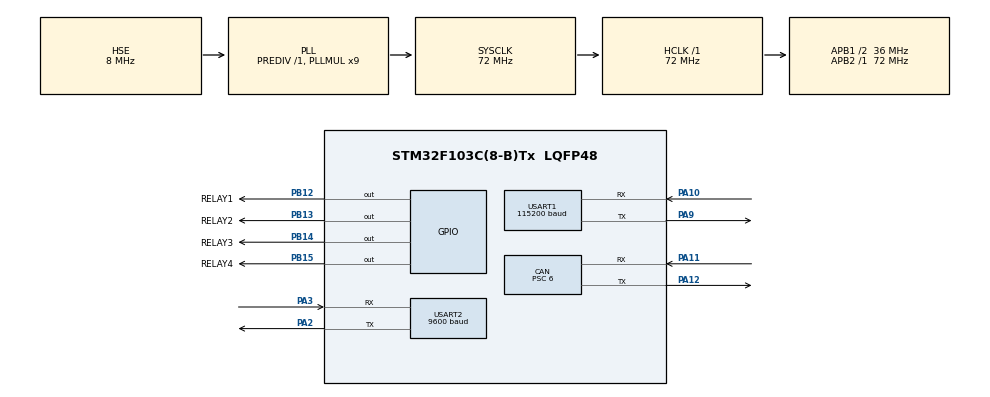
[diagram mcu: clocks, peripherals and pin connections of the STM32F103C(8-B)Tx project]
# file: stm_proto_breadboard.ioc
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Mcu.Family=STM32F1
RCC.PLLSourceVirtual=RCC_PLLSOURCE_HSE
NVIC.CAN1_RX1_IRQn=true\:0\:0\:false\:true\:true\:4\:true\:true
TIM4.AutoReloadPreload=TIM_AUTORELOAD_PRELOAD_ENABLE
PD1-OSC_OUT.Mode=HSE-External-Oscillator
PA10.Mode=Asynchronous
CAN.ABOM=ENABLE
PA10.GPIO_PuPd=GPIO_PULLUP
USART1.BaudRate=115200
CAN.CalculateBaudRate=500000
PB14.GPIO_Label=RELAY3
PA11.Mode=CAN_Activate
CAN.SJW=CAN_SJW_2TQ
PD0-OSC_IN.Signal=RCC_OSC_IN
RCC.APB1CLKDivider=RCC_HCLK_DIV2
PB13.GPIO_Label=RELAY2
PB13.Signal=GPIO_Output
PB15.Signal=GPIO_Output
NVIC.USART2_IRQn=true\:0\:0\:false\:true\:true\:3\:true\:true
USART2.BaudRate=9600
CAN.CalculateTimeBit=1999.99
TIM4.TIM_MasterOutputTrigger=TIM_TRGO_RESET
RCC.SYSCLKSource=RCC_SYSCLKSOURCE_PLLCLK
ProjectManager.StackSize=0x400
PD1-OSC_OUT.Signal=RCC_OSC_OUT
PA13.Signal=SYS_JTMS-SWDIO
PA3.Mode=Asynchronous
PA9.Mode=Asynchronous
PA12.Signal=CAN_TX
CAN.BS2=CAN_BS2_3TQ
CAN.Prescaler=6
CAN.BS1=CAN_BS1_8TQ
ProjectManager.TargetToolchain=STM32CubeIDE
RCC.HCLKFreq_Value=72000000
RCC.APB2TimFreq_Value=72000000
PA9.Signal=USART1_TX
RCC.USBFreq_Value=72000000
TIM4.Prescaler=7200
RCC.AHBFreq_Value=72000000
PD0-OSC_IN.Mode=HSE-External-Oscillator
PB14.Signal=GPIO_Output
board=custom
RCC.PLLMUL=RCC_PLL_MUL9
PB12.GPIO_Label=RELAY1
RCC.APB2Freq_Value=72000000
PB13.PinState=GPIO_PIN_RESET
USART1.Mode=MODE_TX_RX
PB15.GPIO_Label=RELAY4
PA14.Mode=Serial_Wire
NVIC.USB_LP_CAN1_RX0_IRQn=true\:0\:0\:false\:true\:true\:5\:true\:true
CAN.NART=ENABLE
TIM4.Period=50
PA13.Mode=Serial_Wire
Mcu.Name=STM32F103C(8-B)Tx
CAN.CalculateTimeQuantum=166.66666666666669
PA2.Signal=USART2_TX
RCC.SYSCLKFreq_VALUE=72000000
Mcu.Package=LQFP48
PA12.Mode=CAN_Activate
USART2.VirtualMode=VM_ASYNC
USART1.VirtualMode=VM_ASYNC
PA11.Signal=CAN_RX
PA14.Signal=SYS_JTCK-SWCLK
PA10.Signal=USART1_RX
ProjectManager.HeapSize=0x200
VP_TIM4_VS_ClockSourceINT.Mode=Internal
NVIC.PriorityGroup=NVIC_PRIORITYGROUP_4
RCC.APB1TimFreq_Value=72000000
PA2.Mode=Asynchronous
CAN.AWUM=ENABLE
NVIC.USART1_IRQn=true\:0\:0\:false\:true\:true\:2\:true\:true
NVIC.TIM4_IRQn=true\:1\:0\:true\:true\:true\:1\:true\:true
RCC.APB1Freq_Value=36000000
PB12.Signal=GPIO_Output
NVIC.RCC_IRQn=true\:0\:0\:false\:false\:true\:true\:false
PA3.Signal=USART2_RX

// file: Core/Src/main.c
/* USER CODE BEGIN Header */
/**
  ******************************************************************************
  * @file           : main.c
  * @brief          : Main program body
  ******************************************************************************
  * @attention
  *
  * <h2><center>&copy; Copyright (c) 2021 STMicroelectronics.
  * All rights reserved.</center></h2>
  *
  * This software component is licensed by ST under BSD 3-Clause license,
  * the "License"; You may not use this file except in compliance with the
  * License. You may obtain a copy of the License at:
  *                        opensource.org/licenses/BSD-3-Clause
  *
  ******************************************************************************
  */
/* USER CODE END Header */
#include "main.h"

/* USER CODE BEGIN Includes */
#include "Task.h"
/* USER CODE END Includes */

CAN_HandleTypeDef hcan;

TIM_HandleTypeDef htim4;

UART_HandleTypeDef huart1;
UART_HandleTypeDef huart2;

/* USER CODE BEGIN PV */
CAN_TxHeaderTypeDef CanTxHeader;
CAN_RxHeaderTypeDef CanRxHeader;
/* USER CODE END PV */

void SystemClock_Config(void);
static void MX_GPIO_Init(void);
static void MX_CAN_Init(void);
static void MX_USART1_UART_Init(void);
static void MX_TIM4_Init(void);
static void MX_USART2_UART_Init(void);
static void MX_NVIC_Init(void);
/* USER CODE BEGIN PFP */
void CAN_Config(void);
/* USER CODE END PFP */

/* USER CODE BEGIN 0 */
void delay (int a)
{
  volatile int i,j;
  for (i=0 ; i < a ; i++)
  {
     j++;
  }
  return;
}

void HAL_TIM_PeriodElapsedCallback(TIM_HandleTypeDef *htim)
{
	if(htim->Instance == TIM4)
	{
	    Task_Manager_IT();
	}
}

uint8_t UART1_rxBuffer[40] = {0};
uint8_t UART1_pos=0;
void HAL_UART_RxCpltCallback(UART_HandleTypeDef *huart)
{
	unsigned char echo = 1;

	if(huart->Instance == USART1)
	{

        if( (UART1_rxBuffer[UART1_pos] == '\n') || (UART1_rxBuffer[UART1_pos] == '\r') || (UART1_pos >= 40) )
        {
    	    HAL_UART_Transmit(&huart1, (uint8_t*)"received: ", 10, 100);
            HAL_UART_Transmit(&huart1, UART1_rxBuffer, UART1_pos, 100);
    	    HAL_UART_Transmit(&huart1, (uint8_t*)"\n", 1, 100);

            Uart2can_RxIndication(UART1_rxBuffer);
    	    UART1_pos = 0;
        }
        else if( UART1_rxBuffer[UART1_pos] == '\177' )
		{
        	if(UART1_pos > 0)
              UART1_pos--;
		}
        else
        {
        	UART1_pos++;

        }

        if( echo == 1 )
        {
            HAL_UART_Transmit(&huart1, UART1_rxBuffer[UART1_pos], 1, 100);
        }

        /* Reenable uart1 interrupt */
        HAL_UART_Receive_IT(&huart1, &UART1_rxBuffer[UART1_pos], 1);
	}
}

void HAL_CAN_RxFifo0FullCallback(CAN_HandleTypeDef *hcan)
{
	CAN_RxHeaderTypeDef CanHeader;
    uint8_t CanRxData[8];

    HAL_CAN_GetRxMessage(hcan, CAN_RX_FIFO0, &CanHeader, CanRxData);
}

void HAL_CAN_RxFifo1FullCallback(CAN_HandleTypeDef *hcan)
{
	CAN_RxHeaderTypeDef CanHeader;
    uint8_t CanRxData[8];

    HAL_CAN_GetRxMessage(hcan, CAN_RX_FIFO0, &CanHeader, CanRxData);
}

void HAL_CAN_RxFifo1MsgPendingCallback(CAN_HandleTypeDef *hcan)
{
  CAN_RxHeaderTypeDef CanHeader;
  uint8_t CanRxData[8];

}

void HAL_CAN_RxFifo0MsgPendingCallback(CAN_HandleTypeDef *hcan)
{
  CAN_RxHeaderTypeDef CanHeader;
  uint8_t CanRxData[8];

  HAL_CAN_GetRxMessage(hcan, CAN_RX_FIFO0, &CanHeader, CanRxData);

  if (CanHeader.IDE == CAN_ID_STD )
  {
      // Traitement des donnéess

	  OrderProcess(CanHeader.StdId, CanRxData, CanHeader.DLC);

  }

  /* Receive */
//    if (HAL_CAN_Receive_IT(hcan, CAN_RX_FIFO0) != HAL_OK)
//    {
//      /* Reception Error */
//      Error_Handler();
//    }

//    HAL_CAN_Start(hcan);

//    HAL_CAN_RxFifo0FullCallback(hcan)
//    HAL_CAN_GetRxFifoFillLevel(hcan, RxFifo)
}

void Receive_CAN_Message_Polling(CAN_RxHeaderTypeDef RxMessage_, uint8_t* RxData_)
{
    uint8_t messages = HAL_CAN_GetRxFifoFillLevel(&hcan, CAN_RX_FIFO0);
    if(messages > 0)
    {
    	int i=0;
        if(HAL_CAN_GetRxMessage(&hcan, CAN_RX_FIFO0, &RxMessage_, RxData_) == HAL_OK)
        {
            i++;
        	//Indicate();
        }
    }

    messages = HAL_CAN_GetRxFifoFillLevel(&hcan, CAN_RX_FIFO1);
	if(messages > 0)
	{
		int i=0;
		if(HAL_CAN_GetRxMessage(&hcan, CAN_RX_FIFO0, &RxMessage_, RxData_) == HAL_OK)
		{
			i++;
			//Indicate();
		}
	}
}
uint8_t cpt = 0;
/* USER CODE END 0 */

int main(void)
{
  /* USER CODE BEGIN 1 */
  unsigned char str_buff[15] ={0};

  CAN_TxHeaderTypeDef canHeader;
  unsigned char canBuff[8]={1, 2, 3, 4, 5, 6, 7, 8};
  unsigned char canMailBox;
  unsigned char * pTxMailbox=&canMailBox;
  /* USER CODE END 1 */

  /* MCU Configuration--------------------------------------------------------*/

  /* Reset of all peripherals, Initializes the Flash interface and the Systick. */
  HAL_Init();

  /* Configure the system clock */
  SystemClock_Config();

  /* Initialize all configured peripherals */
  MX_GPIO_Init();
  MX_CAN_Init();
  MX_USART1_UART_Init();
  MX_TIM4_Init();
  MX_USART2_UART_Init();

  /* Initialize interrupts */
  MX_NVIC_Init();
  /* USER CODE BEGIN 2 */

  /* Configure the CAN Filter */
  {
    CAN_FilterTypeDef  sFilterConfig;
    sFilterConfig.FilterBank = 0;
    sFilterConfig.FilterMode = CAN_FILTERMODE_IDMASK;
    sFilterConfig.FilterScale = CAN_FILTERSCALE_32BIT;
    sFilterConfig.FilterIdHigh = 0x0000;
    sFilterConfig.FilterIdLow = 0x0000;
    sFilterConfig.FilterMaskIdHigh = 0x0000;
    sFilterConfig.FilterMaskIdLow = 0x0000;
    sFilterConfig.FilterFIFOAssignment = CAN_RX_FIFO0;
    sFilterConfig.FilterActivation = ENABLE;
    sFilterConfig.SlaveStartFilterBank = 14;

    if (HAL_CAN_ConfigFilter(&hcan, &sFilterConfig) != HAL_OK)
    {
      /* Filter configuration Error */
      Error_Handler();
    }

    /* Start the CAN peripheral */
//    if (HAL_CAN_Start(&hcan) != HAL_OK)
//    {
//      /* Start Error */
//      Error_Handler();
//    }

    /* Activate CAN RX notification */
    if (HAL_CAN_ActivateNotification(&hcan, CAN_IT_RX_FIFO0_MSG_PENDING) != HAL_OK)
    {
      /* Notification Error */
      Error_Handler();
    }

    /* Configure Transmission process */
    canHeader.StdId = 0x321;
    canHeader.ExtId = 0x01;
    canHeader.RTR = CAN_RTR_DATA;
    canHeader.IDE = CAN_ID_STD;
    canHeader.DLC = 2;
    canHeader.TransmitGlobalTime = DISABLE;

  }
  HAL_TIM_Base_Start_IT(&htim4);

//  HAL_CAN_Start(&hcan); //start CAN
//  HAL_CAN_ActivateNotification(&hcan, CAN_IT_RX_FIFO0_MSG_PENDING); //enable interrupts
  //CAN_Config();

  hcan.Instance->MCR = 0x60; //IMPORTANT FOR DEBUG!!!!!!!

  /* Receive */
// if (HAL_CAN_Receive_IT(&hcan, CAN_RX_FIFO0) != HAL_OK)
// {
//   /* Reception Error */
//   Error_Handler();
// }

  TaskManager_Init();

  Light_Init();

  HAL_UART_Receive_IT (&huart1, UART1_rxBuffer, 1);
  HAL_UART_Transmit(&huart1, (uint8_t *)"welcome\r\n", 9, 100);

  //HAL_CAN_WakeUp(&hcan);

  canHeader.StdId = 0x012;
  canHeader.ExtId = 0x21;
  canHeader.IDE = CAN_ID_STD;
  canHeader.RTR = 0; //CAN_RTR_DATA;
  canHeader.DLC=1;
  canHeader.TransmitGlobalTime = DISABLE;

  HAL_CAN_AddTxMessage(&hcan, &canHeader, canBuff, pTxMailbox);

  /* USER CODE END 2 */

  /* Infinite loop */
  while (1)
  {

    /* USER CODE BEGIN 3 */
    TaskManager();

    {
        uint32_t TxMailbox;
        uint8_t TxData[8];
        CAN_TxHeaderTypeDef TxMessage;

        TxData[0] = 0xAB;
        TxData[1] = 0xCD;

        TxMessage.DLC = 2;
		TxMessage.IDE = CAN_ID_STD;
		TxMessage.RTR = 0;
		TxMessage.StdId = 0x234;
		TxMessage.TransmitGlobalTime = DISABLE;

     //   HAL_CAN_AddTxMessage(&hcan, &TxMessage, TxData, &TxMailbox);
    }
    //HAL_Delay(1000);
  }
  /* USER CODE END 3 */
}

void SystemClock_Config(void)
{
  RCC_OscInitTypeDef RCC_OscInitStruct = {0};
  RCC_ClkInitTypeDef RCC_ClkInitStruct = {0};

  /** Initializes the RCC Oscillators according to the specified parameters
  * in the RCC_OscInitTypeDef structure.
  */
  RCC_OscInitStruct.OscillatorType = RCC_OSCILLATORTYPE_HSE;
  RCC_OscInitStruct.HSEState = RCC_HSE_ON;
  RCC_OscInitStruct.HSEPredivValue = RCC_HSE_PREDIV_DIV1;
  RCC_OscInitStruct.HSIState = RCC_HSI_ON;
  RCC_OscInitStruct.PLL.PLLState = RCC_PLL_ON;
  RCC_OscInitStruct.PLL.PLLSource = RCC_PLLSOURCE_HSE;
  RCC_OscInitStruct.PLL.PLLMUL = RCC_PLL_MUL9;
  if (HAL_RCC_OscConfig(&RCC_OscInitStruct) != HAL_OK)
  {
    Error_Handler();
  }
  /** Initializes the CPU, AHB and APB buses clocks
  */
  RCC_ClkInitStruct.ClockType = RCC_CLOCKTYPE_HCLK|RCC_CLOCKTYPE_SYSCLK
                              |RCC_CLOCKTYPE_PCLK1|RCC_CLOCKTYPE_PCLK2;
  RCC_ClkInitStruct.SYSCLKSource = RCC_SYSCLKSOURCE_PLLCLK;
  RCC_ClkInitStruct.AHBCLKDivider = RCC_SYSCLK_DIV1;
  RCC_ClkInitStruct.APB1CLKDivider = RCC_HCLK_DIV2;
  RCC_ClkInitStruct.APB2CLKDivider = RCC_HCLK_DIV1;

  if (HAL_RCC_ClockConfig(&RCC_ClkInitStruct, FLASH_LATENCY_2) != HAL_OK)
  {
    Error_Handler();
  }
}

/**
  * @brief NVIC Configuration.
  * @retval None
  */
static void MX_NVIC_Init(void)
{
  /* TIM4_IRQn interrupt configuration */
  HAL_NVIC_SetPriority(TIM4_IRQn, 1, 0);
  HAL_NVIC_EnableIRQ(TIM4_IRQn);
  /* USART1_IRQn interrupt configuration */
  HAL_NVIC_SetPriority(USART1_IRQn, 0, 0);
  HAL_NVIC_EnableIRQ(USART1_IRQn);
  /* USART2_IRQn interrupt configuration */
  HAL_NVIC_SetPriority(USART2_IRQn, 0, 0);
  HAL_NVIC_EnableIRQ(USART2_IRQn);
  /* CAN1_RX1_IRQn interrupt configuration */
  HAL_NVIC_SetPriority(CAN1_RX1_IRQn, 0, 0);
  HAL_NVIC_EnableIRQ(CAN1_RX1_IRQn);
  /* USB_LP_CAN1_RX0_IRQn interrupt configuration */
  HAL_NVIC_SetPriority(USB_LP_CAN1_RX0_IRQn, 0, 0);
  HAL_NVIC_EnableIRQ(USB_LP_CAN1_RX0_IRQn);
}

static void MX_CAN_Init(void)
{

  hcan.Instance = CAN1;
  hcan.Init.Prescaler = 6;
  hcan.Init.Mode = CAN_MODE_NORMAL;
  hcan.Init.SyncJumpWidth = CAN_SJW_2TQ;
  hcan.Init.TimeSeg1 = CAN_BS1_8TQ;
  hcan.Init.TimeSeg2 = CAN_BS2_3TQ;
  hcan.Init.TimeTriggeredMode = DISABLE;
  hcan.Init.AutoBusOff = ENABLE;
  hcan.Init.AutoWakeUp = ENABLE;
  hcan.Init.AutoRetransmission = ENABLE;
  hcan.Init.ReceiveFifoLocked = DISABLE;
  hcan.Init.TransmitFifoPriority = DISABLE;
  if (HAL_CAN_Init(&hcan) != HAL_OK)
  {
    Error_Handler();
  }

}

static void MX_TIM4_Init(void)
{

  TIM_ClockConfigTypeDef sClockSourceConfig = {0};
  TIM_MasterConfigTypeDef sMasterConfig = {0};

  htim4.Instance = TIM4;
  htim4.Init.Prescaler = 7200;
  htim4.Init.CounterMode = TIM_COUNTERMODE_UP;
  htim4.Init.Period = 50;
  htim4.Init.ClockDivision = TIM_CLOCKDIVISION_DIV1;
  htim4.Init.AutoReloadPreload = TIM_AUTORELOAD_PRELOAD_ENABLE;
  if (HAL_TIM_Base_Init(&htim4) != HAL_OK)
  {
    Error_Handler();
  }
  sClockSourceConfig.ClockSource = TIM_CLOCKSOURCE_INTERNAL;
  if (HAL_TIM_ConfigClockSource(&htim4, &sClockSourceConfig) != HAL_OK)
  {
    Error_Handler();
  }
  sMasterConfig.MasterOutputTrigger = TIM_TRGO_RESET;
  sMasterConfig.MasterSlaveMode = TIM_MASTERSLAVEMODE_DISABLE;
  if (HAL_TIMEx_MasterConfigSynchronization(&htim4, &sMasterConfig) != HAL_OK)
  {
    Error_Handler();
  }

}

static void MX_USART1_UART_Init(void)
{

  huart1.Instance = USART1;
  huart1.Init.BaudRate = 115200;
  huart1.Init.WordLength = UART_WORDLENGTH_8B;
  huart1.Init.StopBits = UART_STOPBITS_1;
  huart1.Init.Parity = UART_PARITY_NONE;
  huart1.Init.Mode = UART_MODE_TX_RX;
  huart1.Init.HwFlowCtl = UART_HWCONTROL_NONE;
  huart1.Init.OverSampling = UART_OVERSAMPLING_16;
  if (HAL_UART_Init(&huart1) != HAL_OK)
  {
    Error_Handler();
  }

}

static void MX_USART2_UART_Init(void)
{

  huart2.Instance = USART2;
  huart2.Init.BaudRate = 9600;
  huart2.Init.WordLength = UART_WORDLENGTH_8B;
  huart2.Init.StopBits = UART_STOPBITS_1;
  huart2.Init.Parity = UART_PARITY_NONE;
  huart2.Init.Mode = UART_MODE_TX_RX;
  huart2.Init.HwFlowCtl = UART_HWCONTROL_NONE;
  huart2.Init.OverSampling = UART_OVERSAMPLING_16;
  if (HAL_UART_Init(&huart2) != HAL_OK)
  {
    Error_Handler();
  }

}

static void MX_GPIO_Init(void)
{
  GPIO_InitTypeDef GPIO_InitStruct = {0};

  /* GPIO Ports Clock Enable */
  __HAL_RCC_GPIOD_CLK_ENABLE();
  __HAL_RCC_GPIOA_CLK_ENABLE();
  __HAL_RCC_GPIOB_CLK_ENABLE();

  /*Configure GPIO pin Output Level */
  HAL_GPIO_WritePin(GPIOB, RELAY1_Pin|RELAY2_Pin|RELAY3_Pin|RELAY4_Pin, GPIO_PIN_RESET);

  /*Configure GPIO pins : RELAY1_Pin RELAY2_Pin RELAY3_Pin RELAY4_Pin */
  GPIO_InitStruct.Pin = RELAY1_Pin|RELAY2_Pin|RELAY3_Pin|RELAY4_Pin;
  GPIO_InitStruct.Mode = GPIO_MODE_OUTPUT_PP;
  GPIO_InitStruct.Pull = GPIO_NOPULL;
  GPIO_InitStruct.Speed = GPIO_SPEED_FREQ_LOW;
  HAL_GPIO_Init(GPIOB, &GPIO_InitStruct);

}

/* USER CODE BEGIN 4 */
void CAN_Config(void)
{
  CAN_FilterTypeDef  sFilterConfig;

  sFilterConfig.FilterBank = 0;
  sFilterConfig.FilterMode = CAN_FILTERMODE_IDMASK;
  sFilterConfig.FilterScale = CAN_FILTERSCALE_32BIT;
  sFilterConfig.FilterIdHigh = 0x320 << 5;
  sFilterConfig.FilterIdLow = 0;
  sFilterConfig.FilterMaskIdHigh = 0xFFF << 5;
  sFilterConfig.FilterMaskIdLow = 0;
  sFilterConfig.FilterFIFOAssignment = CAN_RX_FIFO0;
  sFilterConfig.FilterActivation = DISABLE;
  sFilterConfig.SlaveStartFilterBank = 14;

  //HAL_CAN_ConfigFilter(&hcan, &sFilterConfig);

  if (HAL_CAN_ConfigFilter(&hcan, &sFilterConfig) != HAL_OK)
   {
   /* Filter configuration Error */
   Error_Handler();
   }

  HAL_CAN_Start(&hcan);

  HAL_CAN_ActivateNotification(&hcan, CAN_IT_RX_FIFO0_MSG_PENDING);
  HAL_CAN_ActivateNotification(&hcan, CAN_IT_RX_FIFO0_FULL);

  HAL_CAN_ActivateNotification(&hcan, CAN_IT_RX_FIFO1_MSG_PENDING);
  HAL_CAN_ActivateNotification(&hcan, CAN_IT_RX_FIFO1_FULL);

  CanTxHeader.StdId = 0x320;
  CanTxHeader.ExtId = 0x01;
  CanTxHeader.RTR = CAN_RTR_DATA;
  CanTxHeader.IDE = CAN_ID_STD;
  CanTxHeader.DLC = 2;
  CanTxHeader.TransmitGlobalTime = DISABLE;
}
/* USER CODE END 4 */

void Error_Handler(void)
{
  __disable_irq();
  while (1)
  {
  }
}

/************************ (C) COPYRIGHT STMicroelectronics *****END OF FILE****/
